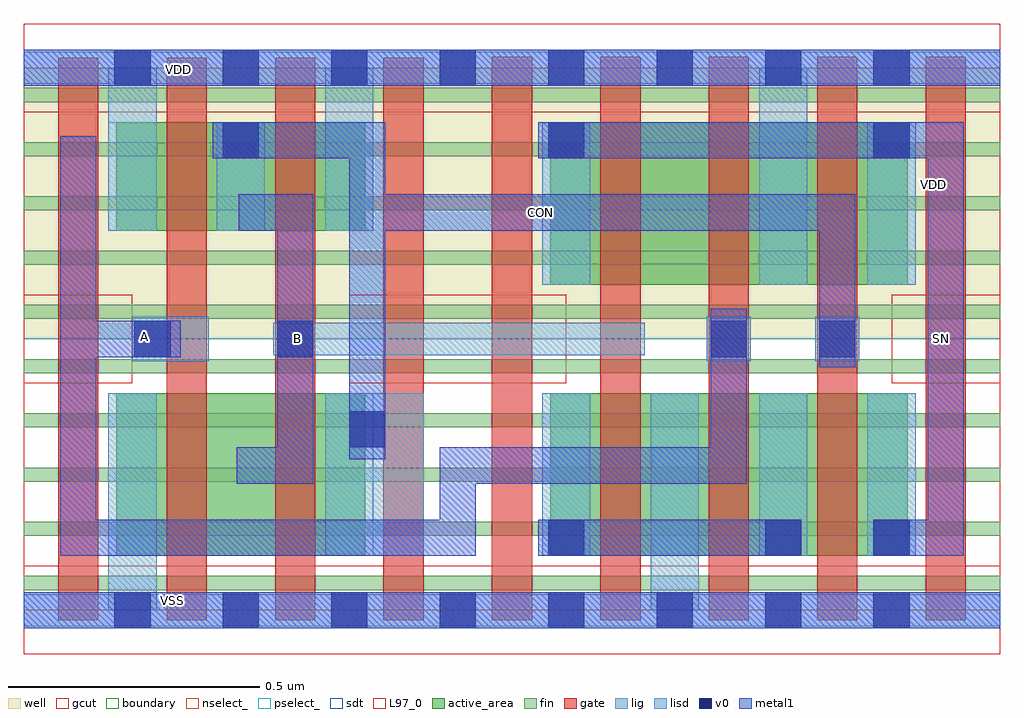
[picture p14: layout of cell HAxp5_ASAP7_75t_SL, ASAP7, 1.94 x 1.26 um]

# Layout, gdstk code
import gdstk
lib = gdstk.Library(unit=1e-6, precision=2.5e-10)
def R(c, l, rs):  # rectangles x0, y0, x1, y1
    for r in rs: c.add(gdstk.rectangle(r[:2], r[2:], *l))
def A(c, l, x, y, w, h, nx, ny, dx, dy):  # array of equal rectangles
    R(c, l, [(x+i*dx, y+j*dy, x+i*dx+w, y+j*dy+h) for i in range(nx) for j in range(ny)])
def P(c, l, *ps):  # polygons
    for p in ps: c.add(gdstk.Polygon(p, *l))
well = (1, 0)
fin = (2, 0)
gate = (7, 0)
gcut = (10, 0)
active_area = (11, 0)
nselect_ = (12, 0)
pselect_ = (13, 0)
lig = (16, 0)
lisd = (17, 0)
v0 = (18, 0)
metal1 = (19, 0)
sdt = (88, 0)
L97_0 = (97, 0)
boundary = (100, 0)

haxp5_asap7_75t_sl = lib.new_cell('HAxp5_ASAP7_75t_SL')
R(haxp5_asap7_75t_sl, well, [(0,0.54,1.944,1.08)])
A(haxp5_asap7_75t_sl, fin, 0, 0.04, 1.944, 0.028, 1, 10, 0, 0.108)
A(haxp5_asap7_75t_sl, gate, 0.068, -0.02, 0.08, 1.12, 4, 1, 0.216, 0)
A(haxp5_asap7_75t_sl, gate, 0.932, -0.02, 0.08, 1.122, 5, 1, 0.216, 0)
R(haxp5_asap7_75t_sl, gcut, [(0,-0.088,1.944,0.088), (0,0.452,0.216,0.628), (0.648,0.452,1.08,0.628), (1.728,0.452,1.944,0.628), (0,0.992,1.944,1.168)])
R(haxp5_asap7_75t_sl, active_area, [(0.184,0.108,0.68,0.432), (1.048,0.108,1.76,0.432), (1.048,0.648,1.76,0.972), (0.184,0.756,0.68,0.972)])
R(haxp5_asap7_75t_sl, nselect_, [(0,0,1.944,0.54)])
R(haxp5_asap7_75t_sl, pselect_, [(0,0.54,1.944,1.08)])
R(haxp5_asap7_75t_sl, lig, [(0,-0.032,1.944,0.032), (0.216,0.496,0.368,0.584), (1.36,0.496,1.448,0.584), (1.576,0.496,1.664,0.584), (0.496,0.508,1.236,0.572), (0,1.048,1.944,1.112)])
R(haxp5_asap7_75t_sl, lisd, [(0.168,0,0.264,0.432), (1.248,0,1.344,0.432), (0.6,0.108,0.796,0.432), (1.032,0.108,1.128,0.432), (1.464,0.108,1.56,0.432), (1.68,0.108,1.776,0.432), (1.032,0.648,1.128,0.972), (1.464,0.648,1.56,1.08), (1.68,0.648,1.776,0.972), (0.168,0.756,0.264,1.08), (0.384,0.756,0.48,0.972), (0.6,0.756,0.696,1.08)])
A(haxp5_asap7_75t_sl, v0, 0.18, -0.036, 0.072, 0.072, 8, 2, 0.216, 1.08)
A(haxp5_asap7_75t_sl, v0, 0.396, 0.9, 0.072, 0.072, 3, 1, 0.648, 0)
R(haxp5_asap7_75t_sl, v0, [(1.044,0.108,1.116,0.18), (1.476,0.108,1.548,0.18), (1.692,0.108,1.764,0.18), (0.648,0.324,0.72,0.396), (0.22,0.504,0.292,0.576), (0.504,0.504,0.576,0.576), (1.368,0.504,1.44,0.576), (1.584,0.504,1.656,0.576)])
R(haxp5_asap7_75t_sl, metal1, [(0,-0.036,1.944,0.036), (1.024,0.108,1.548,0.18), (0,1.044,1.944,1.116)])
P(haxp5_asap7_75t_sl, metal1, [(0.576,0.828),(0.428,0.828),(0.428,0.756),(0.504,0.756),(0.504,0.324),(0.424,0.324),(0.424,0.252),(0.576,0.252)],
  [(1.44,0.6),(1.368,0.6),(1.368,0.324),(0.828,0.324),(0.828,0.18),(0.144,0.18),(0.144,0.504),(0.312,0.504),(0.312,0.576),(0.144,0.576),(0.144,0.944),(0.072,0.944),(0.072,0.108),(0.9,0.108),(0.9,0.252),(1.44,0.252)],
  [(1.656,0.828),(0.72,0.828),(0.72,0.972),(0.376,0.972),(0.376,0.9),(0.648,0.9),(0.648,0.3),(0.72,0.3),(0.72,0.756),(1.584,0.756),(1.584,0.484),(1.656,0.484)],
  [(1.872,0.972),(1.024,0.972),(1.024,0.9),(1.8,0.9),(1.8,0.18),(1.692,0.18),(1.692,0.108),(1.872,0.108)])
A(haxp5_asap7_75t_sl, sdt, 0.168, 0.108, 0.096, 0.324, 3, 1, 0.432, 0)
A(haxp5_asap7_75t_sl, sdt, 1.248, 0.108, 0.096, 0.324, 3, 1, 0.216, 0)
A(haxp5_asap7_75t_sl, sdt, 0.168, 0.756, 0.096, 0.216, 3, 1, 0.216, 0)
R(haxp5_asap7_75t_sl, sdt, [(1.032,0.648,1.128,0.972), (1.464,0.648,1.56,0.972), (1.68,0.648,1.776,0.972)])
R(haxp5_asap7_75t_sl, L97_0, [(0,0,1.944,1.08)])
R(haxp5_asap7_75t_sl, boundary, [(0,0,1.944,1.08)])
haxp5_asap7_75t_sl.add(gdstk.Label('SN', (1.828,0.54), layer=19, texttype=251))
haxp5_asap7_75t_sl.add(gdstk.Label('B', (0.544,0.54), layer=19, texttype=251))
haxp5_asap7_75t_sl.add(gdstk.Label('VSS', (0.296,0.02), layer=19, texttype=251))
haxp5_asap7_75t_sl.add(gdstk.Label('VDD', (0.308,1.076), layer=19, texttype=251))
haxp5_asap7_75t_sl.add(gdstk.Label('A', (0.24,0.544), layer=19, texttype=251))
haxp5_asap7_75t_sl.add(gdstk.Label('CON', (1.028,0.792), layer=19, texttype=251))
haxp5_asap7_75t_sl.add(gdstk.Label('VDD', (1.812,0.848), layer=1, texttype=251))
haxp5_asap7_75t_sl.add(gdstk.Label('VSS', (2.088,0.844), layer=3, texttype=251))

lib.write_gds('HAxp5_ASAP7_75t_SL.gds')
